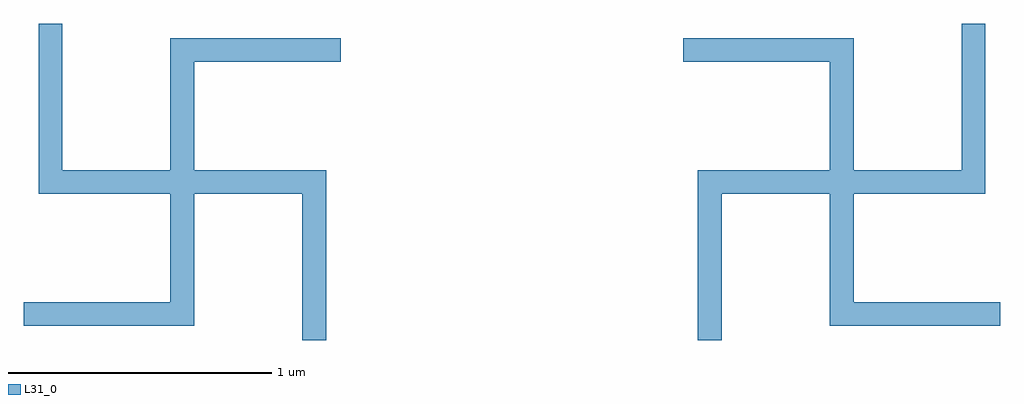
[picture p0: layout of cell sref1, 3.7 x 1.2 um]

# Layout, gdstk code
from math import pi, radians
import gdstk
lib = gdstk.Library(unit=1e-6, precision=1e-09)
L31_0 = (31, 0)

path = lib.new_cell('path')
path.add(gdstk.FlexPath([(0,0),(0,0.5),(0.6,0.5)], 0.09, ends="flush", simple_path=True, layer=31, datatype=0))  # L31_0

sref0r180 = lib.new_cell('sref0R180')
sref0r180.add(gdstk.Reference(path, (0,0), rotation=pi))

sref0r0 = lib.new_cell('sref0R0')
sref0r0.add(gdstk.Reference(path, (0,0)))

sref0r90 = lib.new_cell('sref0R90')
sref0r90.add(gdstk.Reference(path, (0,0), rotation=pi/2))

sref0r270 = lib.new_cell('sref0R270')
sref0r270.add(gdstk.Reference(path, (0,0), rotation=3*pi/2))

sref0my = lib.new_cell('sref0MY')
sref0my.add(gdstk.Reference(path, (0,0), rotation=pi, x_reflection=True))

sref0myr90 = lib.new_cell('sref0MYR90')
sref0myr90.add(gdstk.Reference(path, (0,0), rotation=3*pi/2, x_reflection=True))

sref0mx = lib.new_cell('sref0MX')
sref0mx.add(gdstk.Reference(path, (0,0), x_reflection=True))

sref0mxr90 = lib.new_cell('sref0MXR90')
sref0mxr90.add(gdstk.Reference(path, (0,0), rotation=pi/2, x_reflection=True))

sref1 = lib.new_cell('sref1')
sref1.add(gdstk.Reference(sref0r180, (0.5,0.7)))
sref1.add(gdstk.Reference(sref0r0, (0.5,0.7)))
sref1.add(gdstk.Reference(sref0r90, (0.5,0.7)))
sref1.add(gdstk.Reference(sref0r270, (0.5,0.7)))
sref1.add(gdstk.Reference(sref0my, (3,0.7)))
sref1.add(gdstk.Reference(sref0myr90, (3,0.7)))
sref1.add(gdstk.Reference(sref0mx, (3,0.7)))
sref1.add(gdstk.Reference(sref0mxr90, (3,0.7)))

lib.write_gds('sref1.gds')
